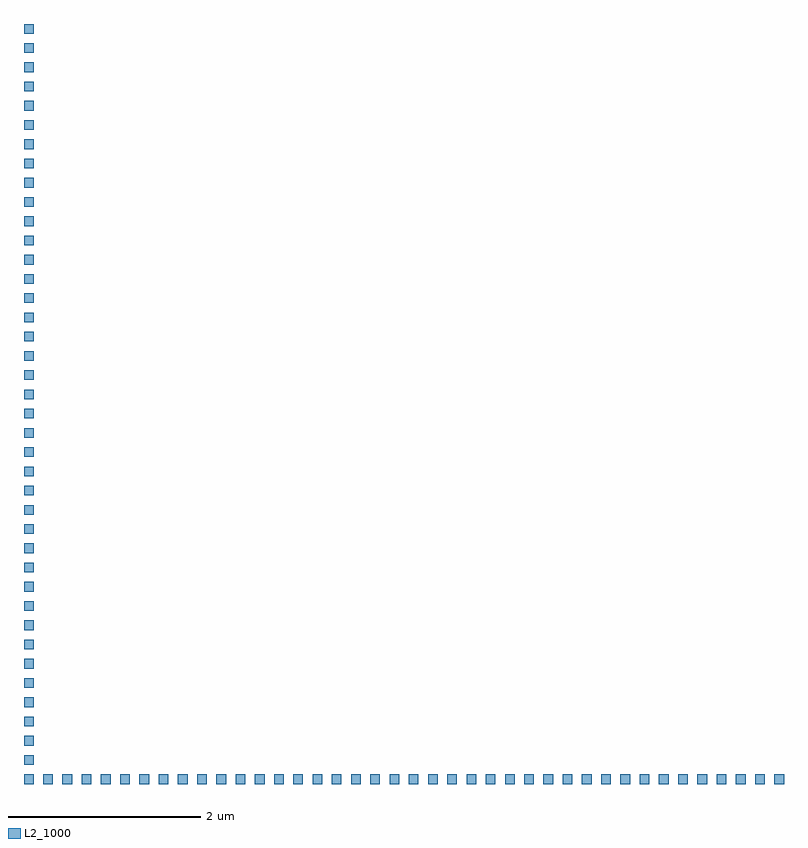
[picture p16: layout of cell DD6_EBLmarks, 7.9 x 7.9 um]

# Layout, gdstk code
import gdstk
lib = gdstk.Library(unit=1e-6, precision=1e-09)
def R(c, l, rs):  # rectangles x0, y0, x1, y1
    for r in rs: c.add(gdstk.rectangle(r[:2], r[2:], *l))
def A(c, l, x, y, w, h, nx, ny, dx, dy):  # array of equal rectangles
    R(c, l, [(x+i*dx, y+j*dy, x+i*dx+w, y+j*dy+h) for i in range(nx) for j in range(ny)])
L2_1000 = (2, 1000)

dd6_eblmarks = lib.new_cell('DD6_EBLmarks')
A(dd6_eblmarks, L2_1000, -0.05, -0.05, 0.1, 0.1, 40, 1, 0.2, 0)
A(dd6_eblmarks, L2_1000, -0.05, 0.15, 0.1, 0.1, 1, 39, 0, 0.2)

lib.write_gds('DD6_EBLmarks.gds')
